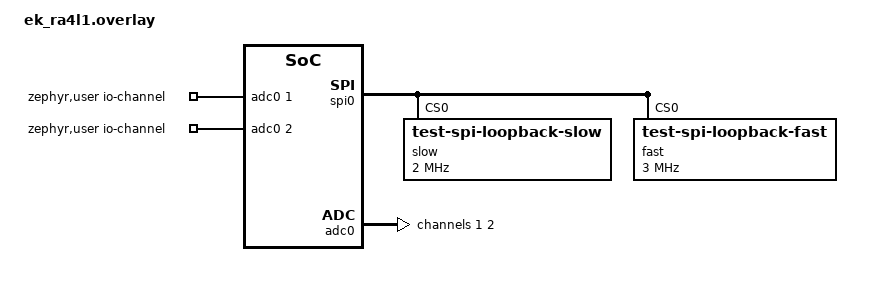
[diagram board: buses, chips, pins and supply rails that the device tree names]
/*
 * Copyright (c) 2025 Renesas Electronics Corporation
 *
 * SPDX-License-Identifier: Apache-2.0
 */

tst_dma0: &dma0 {};

&dma0 {
	status = "okay";
	interrupts = <63 1>, <62 1>, <61 1>;
	interrupt-names = "ch0", "ch1", "ch2";
};

&spi0 {
	rx-dtc;
	tx-dtc;
	slow@0 {
		compatible = "test-spi-loopback-slow";
		reg = <0>;
		spi-max-frequency = <2000000>;
	};
	fast@0 {
		compatible = "test-spi-loopback-fast";
		reg = <0>;
		spi-max-frequency = <3000000>;
	};
};

/ {
	zephyr,user {
		io-channels = <&adc0 1>, <&adc0 2>;
	};
};

&adc0 {
	status = "okay";
	#address-cells = <1>;
	#size-cells = <0>;
	channel@1 {
		reg = <1>;
		zephyr,gain = "ADC_GAIN_1";
		zephyr,reference = "ADC_REF_INTERNAL";
		zephyr,resolution = <12>;
		zephyr,acquisition-time = <ADC_ACQ_TIME_DEFAULT>;
		zephyr,vref-mv = <3300>;
	};
	channel@2 {
		reg = <2>;
		zephyr,gain = "ADC_GAIN_1";
		zephyr,reference = "ADC_REF_INTERNAL";
		zephyr,resolution = <12>;
		zephyr,acquisition-time = <ADC_ACQ_TIME_DEFAULT>;
		zephyr,vref-mv = <3300>;
	};
};
